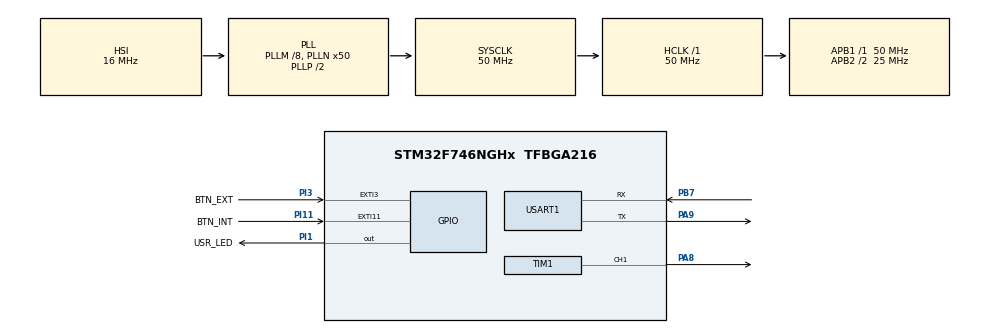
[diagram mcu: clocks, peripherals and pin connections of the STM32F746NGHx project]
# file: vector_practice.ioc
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FREERTOS.Mutexes01=vectorMutex,Dynamic,NULL
FREERTOS.Tasks01=defaultTask,0,128,StartDefaultTask,Default,NULL,Dynamic,NULL,NULL;PrintVector,0,256,StartPrintVector,Default,NULL,Dynamic,NULL,NULL;PWM,0,256,StartPWM,Default,NULL,Dynamic,NULL,NULL;PushVector,0,512,StartPushVector,Default,NULL,Dynamic,NULL,NULL;PopVector,0,256,StartPopVector,Default,NULL,Dynamic,NULL,NULL;DeleteRandom,0,256,StartDeleteRandom,Default,NULL,Dynamic,NULL,NULL
Mcu.Family=STM32F7
Mcu.Name=STM32F746NGHx
Mcu.Package=TFBGA216
NVIC.EXTI15_10_IRQn=true\:5\:0\:true\:false\:true\:false\:true\:true
NVIC.EXTI3_IRQn=true\:5\:0\:true\:false\:true\:false\:true\:true
NVIC.PriorityGroup=NVIC_PRIORITYGROUP_4
NVIC.TIM1_BRK_TIM9_IRQn=true\:5\:0\:true\:false\:true\:true\:true\:true
NVIC.TIM5_IRQn=true\:5\:0\:true\:false\:true\:true\:true\:true
NVIC.TIM8_TRG_COM_TIM14_IRQn=true\:0\:0\:false\:false\:true\:false\:false\:true
NVIC.TimeBase=TIM8_TRG_COM_TIM14_IRQn
NVIC.TimeBaseIP=TIM14
NVIC.USART1_IRQn=true\:5\:0\:false\:false\:true\:true\:true\:true
PA13.Mode=Serial_Wire
PA13.Signal=SYS_JTMS-SWDIO
PA14.Mode=Serial_Wire
PA14.Signal=SYS_JTCK-SWCLK
PA8.Signal=S_TIM1_CH1
PA9.Mode=Asynchronous
PA9.Signal=USART1_TX
PB7.Mode=Asynchronous
PB7.Signal=USART1_RX
PC14/OSC32_IN.Mode=LSE-External-Oscillator
PC14/OSC32_IN.Signal=RCC_OSC32_IN
PC15/OSC32_OUT.Mode=LSE-External-Oscillator
PC15/OSC32_OUT.Signal=RCC_OSC32_OUT
PH0/OSC_IN.Mode=HSE-External-Clock-Source
PH0/OSC_IN.Signal=RCC_OSC_IN
PH1/OSC_OUT.Mode=HSE-External-Clock-Source
PH1/OSC_OUT.Signal=RCC_OSC_OUT
PI1.GPIO_Label=USR_LED
PI1.Signal=GPIO_Output
PI11.GPIO_Label=BTN_INT
PI11.Signal=GPXTI11
PI3.GPIO_Label=BTN_EXT
PI3.GPIO_ModeDefaultEXTI=GPIO_MODE_IT_RISING_FALLING
PI3.GPIO_PuPd=GPIO_PULLUP
PI3.Signal=GPXTI3
ProjectManager.HeapSize=0x200
ProjectManager.StackSize=0x400
ProjectManager.TargetToolchain=STM32CubeIDE
RCC.AHBFreq_Value=50000000
RCC.APB1Freq_Value=50000000
RCC.APB1TimFreq_Value=50000000
RCC.APB2CLKDivider=RCC_HCLK_DIV2
RCC.APB2Freq_Value=25000000
RCC.APB2TimFreq_Value=50000000
RCC.CortexFreq_Value=50000000
RCC.HCLKFreq_Value=50000000
RCC.HSE_VALUE=25000000
RCC.HSI_VALUE=16000000
RCC.PLLM=8
RCC.PLLN=50
RCC.PLLQ=3
RCC.PLLSourceVirtual=RCC_PLLSOURCE_HSI
RCC.SYSCLKFreq_VALUE=50000000
RCC.SYSCLKSource=RCC_SYSCLKSOURCE_PLLCLK
RCC.USBFreq_Value=33333333.333333332
RCC.VCOOutputFreq_Value=100000000
SH.S_TIM1_CH1.0=TIM1_CH1,PWM Generation1 CH1
TIM1.Channel-PWM\ Generation1\ CH1=TIM_CHANNEL_1
TIM1.Period=100
TIM5.Period=10000
TIM5.Prescaler=5000-1
TIM9.Period=20000
TIM9.Prescaler=5000-1
USART1.VirtualMode-Asynchronous=VM_ASYNC
VP_FREERTOS_VS_CMSIS_V1.Mode=CMSIS_V1
VP_RNG_VS_RNG.Mode=RNG_Activate
VP_SYS_VS_tim14.Mode=TIM14
VP_TIM5_VS_ClockSourceINT.Mode=Internal
VP_TIM9_VS_ClockSourceINT.Mode=Internal
board=STM32F746G-DISCO

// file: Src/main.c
/* USER CODE BEGIN Header */
/**
  ******************************************************************************
  * @file           : main.c
  * @brief          : Main program body
  ******************************************************************************
  * @attention
  *
  * <h2><center>&copy; Copyright (c) 2019 STMicroelectronics.
  * All rights reserved.</center></h2>
  *
  * This software component is licensed by ST under BSD 3-Clause license,
  * the "License"; You may not use this file except in compliance with the
  * License. You may obtain a copy of the License at:
  *                        opensource.org/licenses/BSD-3-Clause
  *
  ******************************************************************************
  */
/* USER CODE END Header */

#include "main.h"
#include "cmsis_os.h"

/* USER CODE BEGIN Includes */
#include "vector.h"
#include <stdio.h>
#include <string.h>
/* USER CODE END Includes */

/* USER CODE BEGIN PTD */
typedef enum btn_ext_state{
	PRESSED,
	RELEASED
}btn_ext_state_t;
/* USER CODE END PTD */

RNG_HandleTypeDef hrng;

TIM_HandleTypeDef htim1;
TIM_HandleTypeDef htim5;
TIM_HandleTypeDef htim9;

UART_HandleTypeDef huart1;

osThreadId defaultTaskHandle;
osThreadId PrintVectorHandle;
osThreadId PWMHandle;
osThreadId PushVectorHandle;
osThreadId PopVectorHandle;
osThreadId DeleteRandomHandle;
osMutexId vectorMutexHandle;
/* USER CODE BEGIN PV */
int sys_init_flag = 0;
int sys_init_flag_two = 0;
int signal_print_vector = 1;
int signal_pop_vector = 2;
int signal_push_vector = 3;
int signal_delete_random = 4;
vector_t test_vector;

int prev_start_time_btn_ext = 0;
int prev_start_time_btn_int = 0;
btn_ext_state_t state = RELEASED;

int duty_cycle = 0;
/* USER CODE END PV */

void SystemClock_Config(void);
static void MX_GPIO_Init(void);
static void MX_TIM5_Init(void);
static void MX_USART1_UART_Init(void);
static void MX_TIM1_Init(void);
static void MX_RNG_Init(void);
static void MX_TIM9_Init(void);
void StartDefaultTask(void const * argument);
void StartPrintVector(void const * argument);
void StartPWM(void const * argument);
void StartPushVector(void const * argument);
void StartPopVector(void const * argument);
void StartDeleteRandom(void const * argument);

/* USER CODE BEGIN PFP */
void print_vector(vector_t* vector);
void delete_random(vector_t* vector);
int calculate_avg(vector_t* vector);
/* USER CODE END PFP */

/* USER CODE BEGIN 0 */
void print_vector(vector_t* vector)
{
	if(vector->size == 0){
		char tmp[32];
		sprintf(tmp, "Empty vector!\r\n");
		HAL_UART_Transmit(&huart1, (uint8_t*)tmp, strlen(tmp), 50);
	}else{
		char tmp[128];
		int elements;
		int i;
		for(i = 0; i < vector_size(vector); ++i){
			elements = vector_get(vector, i);
			sprintf(tmp, "Vector element at %d.: %d\r\n", i, elements);
			HAL_UART_Transmit(&huart1, (uint8_t*)tmp, strlen(tmp), 50);
		}
	}
}

void delete_random(vector_t* vector)
{
	if(vector->size == 0){
		return;
	}

	int random_element_index = HAL_RNG_GetRandomNumber(&hrng) % vector->size;
	vector_erase(vector, random_element_index);

}

int calculate_avg(vector_t* vector)
{
	int sum = 0;
	for(int i = 0; i < vector->size; ++i){
		sum += vector->data[i];
	}

	return sum / vector->size;
}
/* USER CODE END 0 */

int main(void)
{

  /* MCU Configuration--------------------------------------------------------*/

  /* Reset of all peripherals, Initializes the Flash interface and the Systick. */
  HAL_Init();

  /* Configure the system clock */
  SystemClock_Config();

  /* USER CODE BEGIN SysInit */
  vector_init(&test_vector);
  /* USER CODE END SysInit */

  /* Initialize all configured peripherals */
  MX_GPIO_Init();
  MX_TIM5_Init();
  MX_USART1_UART_Init();
  MX_TIM1_Init();
  MX_RNG_Init();
  MX_TIM9_Init();
  /* USER CODE BEGIN 2 */
  HAL_TIM_Base_Start_IT(&htim5);
  HAL_TIM_Base_Start_IT(&htim9);
  HAL_TIM_PWM_Start(&htim1, TIM_CHANNEL_1);
  /* USER CODE END 2 */

  /* Create the mutex(es) */
  /* definition and creation of vectorMutex */
  osMutexDef(vectorMutex);
  vectorMutexHandle = osMutexCreate(osMutex(vectorMutex));

  /* Create the thread(s) */
  /* definition and creation of defaultTask */
  osThreadDef(defaultTask, StartDefaultTask, osPriorityNormal, 0, 128);
  defaultTaskHandle = osThreadCreate(osThread(defaultTask), NULL);

  /* definition and creation of PrintVector */
  osThreadDef(PrintVector, StartPrintVector, osPriorityNormal, 0, 256);
  PrintVectorHandle = osThreadCreate(osThread(PrintVector), NULL);

  /* definition and creation of PWM */
  osThreadDef(PWM, StartPWM, osPriorityNormal, 0, 256);
  PWMHandle = osThreadCreate(osThread(PWM), NULL);

  /* definition and creation of PushVector */
  osThreadDef(PushVector, StartPushVector, osPriorityNormal, 0, 512);
  PushVectorHandle = osThreadCreate(osThread(PushVector), NULL);

  /* definition and creation of PopVector */
  osThreadDef(PopVector, StartPopVector, osPriorityNormal, 0, 256);
  PopVectorHandle = osThreadCreate(osThread(PopVector), NULL);

  /* definition and creation of DeleteRandom */
  osThreadDef(DeleteRandom, StartDeleteRandom, osPriorityNormal, 0, 256);
  DeleteRandomHandle = osThreadCreate(osThread(DeleteRandom), NULL);

  /* Start scheduler */
  osKernelStart();

  /* We should never get here as control is now taken by the scheduler */

  /* Infinite loop */
  while (1)
  {

  }
}

void SystemClock_Config(void)
{
  RCC_OscInitTypeDef RCC_OscInitStruct = {0};
  RCC_ClkInitTypeDef RCC_ClkInitStruct = {0};
  RCC_PeriphCLKInitTypeDef PeriphClkInitStruct = {0};

  /** Configure LSE Drive Capability
  */
  HAL_PWR_EnableBkUpAccess();
  /** Configure the main internal regulator output voltage
  */
  __HAL_RCC_PWR_CLK_ENABLE();
  __HAL_PWR_VOLTAGESCALING_CONFIG(PWR_REGULATOR_VOLTAGE_SCALE3);
  /** Initializes the CPU, AHB and APB busses clocks
  */
  RCC_OscInitStruct.OscillatorType = RCC_OSCILLATORTYPE_HSI;
  RCC_OscInitStruct.HSIState = RCC_HSI_ON;
  RCC_OscInitStruct.HSICalibrationValue = RCC_HSICALIBRATION_DEFAULT;
  RCC_OscInitStruct.PLL.PLLState = RCC_PLL_ON;
  RCC_OscInitStruct.PLL.PLLSource = RCC_PLLSOURCE_HSI;
  RCC_OscInitStruct.PLL.PLLM = 8;
  RCC_OscInitStruct.PLL.PLLN = 50;
  RCC_OscInitStruct.PLL.PLLP = RCC_PLLP_DIV2;
  RCC_OscInitStruct.PLL.PLLQ = 3;
  if (HAL_RCC_OscConfig(&RCC_OscInitStruct) != HAL_OK)
  {
    Error_Handler();
  }
  /** Activate the Over-Drive mode
  */
  if (HAL_PWREx_EnableOverDrive() != HAL_OK)
  {
    Error_Handler();
  }
  /** Initializes the CPU, AHB and APB busses clocks
  */
  RCC_ClkInitStruct.ClockType = RCC_CLOCKTYPE_HCLK|RCC_CLOCKTYPE_SYSCLK
                              |RCC_CLOCKTYPE_PCLK1|RCC_CLOCKTYPE_PCLK2;
  RCC_ClkInitStruct.SYSCLKSource = RCC_SYSCLKSOURCE_PLLCLK;
  RCC_ClkInitStruct.AHBCLKDivider = RCC_SYSCLK_DIV1;
  RCC_ClkInitStruct.APB1CLKDivider = RCC_HCLK_DIV1;
  RCC_ClkInitStruct.APB2CLKDivider = RCC_HCLK_DIV2;

  if (HAL_RCC_ClockConfig(&RCC_ClkInitStruct, FLASH_LATENCY_1) != HAL_OK)
  {
    Error_Handler();
  }
  PeriphClkInitStruct.PeriphClockSelection = RCC_PERIPHCLK_USART1|RCC_PERIPHCLK_CLK48;
  PeriphClkInitStruct.Usart1ClockSelection = RCC_USART1CLKSOURCE_PCLK2;
  PeriphClkInitStruct.Clk48ClockSelection = RCC_CLK48SOURCE_PLL;
  if (HAL_RCCEx_PeriphCLKConfig(&PeriphClkInitStruct) != HAL_OK)
  {
    Error_Handler();
  }
}

static void MX_RNG_Init(void)
{

  hrng.Instance = RNG;
  if (HAL_RNG_Init(&hrng) != HAL_OK)
  {
    Error_Handler();
  }

}

static void MX_TIM1_Init(void)
{

  TIM_MasterConfigTypeDef sMasterConfig = {0};
  TIM_OC_InitTypeDef sConfigOC = {0};
  TIM_BreakDeadTimeConfigTypeDef sBreakDeadTimeConfig = {0};

  htim1.Instance = TIM1;
  htim1.Init.Prescaler = 0;
  htim1.Init.CounterMode = TIM_COUNTERMODE_UP;
  htim1.Init.Period = 100;
  htim1.Init.ClockDivision = TIM_CLOCKDIVISION_DIV1;
  htim1.Init.RepetitionCounter = 0;
  htim1.Init.AutoReloadPreload = TIM_AUTORELOAD_PRELOAD_DISABLE;
  if (HAL_TIM_PWM_Init(&htim1) != HAL_OK)
  {
    Error_Handler();
  }
  sMasterConfig.MasterOutputTrigger = TIM_TRGO_RESET;
  sMasterConfig.MasterOutputTrigger2 = TIM_TRGO2_RESET;
  sMasterConfig.MasterSlaveMode = TIM_MASTERSLAVEMODE_DISABLE;
  if (HAL_TIMEx_MasterConfigSynchronization(&htim1, &sMasterConfig) != HAL_OK)
  {
    Error_Handler();
  }
  sConfigOC.OCMode = TIM_OCMODE_PWM1;
  sConfigOC.Pulse = 0;
  sConfigOC.OCPolarity = TIM_OCPOLARITY_HIGH;
  sConfigOC.OCNPolarity = TIM_OCNPOLARITY_HIGH;
  sConfigOC.OCFastMode = TIM_OCFAST_DISABLE;
  sConfigOC.OCIdleState = TIM_OCIDLESTATE_RESET;
  sConfigOC.OCNIdleState = TIM_OCNIDLESTATE_RESET;
  if (HAL_TIM_PWM_ConfigChannel(&htim1, &sConfigOC, TIM_CHANNEL_1) != HAL_OK)
  {
    Error_Handler();
  }
  sBreakDeadTimeConfig.OffStateRunMode = TIM_OSSR_DISABLE;
  sBreakDeadTimeConfig.OffStateIDLEMode = TIM_OSSI_DISABLE;
  sBreakDeadTimeConfig.LockLevel = TIM_LOCKLEVEL_OFF;
  sBreakDeadTimeConfig.DeadTime = 0;
  sBreakDeadTimeConfig.BreakState = TIM_BREAK_DISABLE;
  sBreakDeadTimeConfig.BreakPolarity = TIM_BREAKPOLARITY_HIGH;
  sBreakDeadTimeConfig.BreakFilter = 0;
  sBreakDeadTimeConfig.Break2State = TIM_BREAK2_DISABLE;
  sBreakDeadTimeConfig.Break2Polarity = TIM_BREAK2POLARITY_HIGH;
  sBreakDeadTimeConfig.Break2Filter = 0;
  sBreakDeadTimeConfig.AutomaticOutput = TIM_AUTOMATICOUTPUT_DISABLE;
  if (HAL_TIMEx_ConfigBreakDeadTime(&htim1, &sBreakDeadTimeConfig) != HAL_OK)
  {
    Error_Handler();
  }
  HAL_TIM_MspPostInit(&htim1);

}

static void MX_TIM5_Init(void)
{

  TIM_ClockConfigTypeDef sClockSourceConfig = {0};
  TIM_MasterConfigTypeDef sMasterConfig = {0};

  htim5.Instance = TIM5;
  htim5.Init.Prescaler = 5000-1;
  htim5.Init.CounterMode = TIM_COUNTERMODE_UP;
  htim5.Init.Period = 10000;
  htim5.Init.ClockDivision = TIM_CLOCKDIVISION_DIV1;
  htim5.Init.AutoReloadPreload = TIM_AUTORELOAD_PRELOAD_DISABLE;
  if (HAL_TIM_Base_Init(&htim5) != HAL_OK)
  {
    Error_Handler();
  }
  sClockSourceConfig.ClockSource = TIM_CLOCKSOURCE_INTERNAL;
  if (HAL_TIM_ConfigClockSource(&htim5, &sClockSourceConfig) != HAL_OK)
  {
    Error_Handler();
  }
  sMasterConfig.MasterOutputTrigger = TIM_TRGO_RESET;
  sMasterConfig.MasterSlaveMode = TIM_MASTERSLAVEMODE_DISABLE;
  if (HAL_TIMEx_MasterConfigSynchronization(&htim5, &sMasterConfig) != HAL_OK)
  {
    Error_Handler();
  }

}

static void MX_TIM9_Init(void)
{

  TIM_ClockConfigTypeDef sClockSourceConfig = {0};

  htim9.Instance = TIM9;
  htim9.Init.Prescaler = 5000-1;
  htim9.Init.CounterMode = TIM_COUNTERMODE_UP;
  htim9.Init.Period = 20000;
  htim9.Init.ClockDivision = TIM_CLOCKDIVISION_DIV1;
  htim9.Init.AutoReloadPreload = TIM_AUTORELOAD_PRELOAD_DISABLE;
  if (HAL_TIM_Base_Init(&htim9) != HAL_OK)
  {
    Error_Handler();
  }
  sClockSourceConfig.ClockSource = TIM_CLOCKSOURCE_INTERNAL;
  if (HAL_TIM_ConfigClockSource(&htim9, &sClockSourceConfig) != HAL_OK)
  {
    Error_Handler();
  }

}

static void MX_USART1_UART_Init(void)
{

  huart1.Instance = USART1;
  huart1.Init.BaudRate = 115200;
  huart1.Init.WordLength = UART_WORDLENGTH_8B;
  huart1.Init.StopBits = UART_STOPBITS_1;
  huart1.Init.Parity = UART_PARITY_NONE;
  huart1.Init.Mode = UART_MODE_TX_RX;
  huart1.Init.HwFlowCtl = UART_HWCONTROL_NONE;
  huart1.Init.OverSampling = UART_OVERSAMPLING_16;
  huart1.Init.OneBitSampling = UART_ONE_BIT_SAMPLE_DISABLE;
  huart1.AdvancedInit.AdvFeatureInit = UART_ADVFEATURE_NO_INIT;
  if (HAL_UART_Init(&huart1) != HAL_OK)
  {
    Error_Handler();
  }

}

static void MX_GPIO_Init(void)
{
  GPIO_InitTypeDef GPIO_InitStruct = {0};

  /* GPIO Ports Clock Enable */
  __HAL_RCC_GPIOA_CLK_ENABLE();
  __HAL_RCC_GPIOB_CLK_ENABLE();
  __HAL_RCC_GPIOI_CLK_ENABLE();
  __HAL_RCC_GPIOC_CLK_ENABLE();
  __HAL_RCC_GPIOH_CLK_ENABLE();

  /*Configure GPIO pin Output Level */
  HAL_GPIO_WritePin(USR_LED_GPIO_Port, USR_LED_Pin, GPIO_PIN_RESET);

  /*Configure GPIO pin : BTN_EXT_Pin */
  GPIO_InitStruct.Pin = BTN_EXT_Pin;
  GPIO_InitStruct.Mode = GPIO_MODE_IT_RISING_FALLING;
  GPIO_InitStruct.Pull = GPIO_PULLUP;
  HAL_GPIO_Init(BTN_EXT_GPIO_Port, &GPIO_InitStruct);

  /*Configure GPIO pin : USR_LED_Pin */
  GPIO_InitStruct.Pin = USR_LED_Pin;
  GPIO_InitStruct.Mode = GPIO_MODE_OUTPUT_PP;
  GPIO_InitStruct.Pull = GPIO_NOPULL;
  GPIO_InitStruct.Speed = GPIO_SPEED_FREQ_LOW;
  HAL_GPIO_Init(USR_LED_GPIO_Port, &GPIO_InitStruct);

  /*Configure GPIO pin : BTN_INT_Pin */
  GPIO_InitStruct.Pin = BTN_INT_Pin;
  GPIO_InitStruct.Mode = GPIO_MODE_IT_RISING;
  GPIO_InitStruct.Pull = GPIO_NOPULL;
  HAL_GPIO_Init(BTN_INT_GPIO_Port, &GPIO_InitStruct);

  /* EXTI interrupt init*/
  HAL_NVIC_SetPriority(EXTI3_IRQn, 5, 0);
  HAL_NVIC_EnableIRQ(EXTI3_IRQn);

  HAL_NVIC_SetPriority(EXTI15_10_IRQn, 5, 0);
  HAL_NVIC_EnableIRQ(EXTI15_10_IRQn);

}

/* USER CODE BEGIN 4 */
void HAL_GPIO_EXTI_Callback(uint16_t GPIO_Pin)
{
	if(GPIO_Pin == BTN_EXT_Pin){
		if(HAL_GPIO_ReadPin(BTN_EXT_GPIO_Port, BTN_EXT_Pin)){
			state = PRESSED;
			/*if(state == PRESSED){
				osSignalSet(PushVectorHandle, signal_push_vector);
			}*/
		}else if(!HAL_GPIO_ReadPin(BTN_EXT_GPIO_Port, BTN_EXT_Pin)){
			state = RELEASED;
		}
	}

	if(GPIO_Pin == BTN_INT_Pin){
		osSignalSet(DeleteRandomHandle, signal_delete_random);
	}
}
/* USER CODE END 4 */

void StartDefaultTask(void const * argument)
{

  for(;;)
  {
    osDelay(1);
  }
}

void StartPrintVector(void const * argument)
{
  /* USER CODE BEGIN StartPrintVector */

  /* Infinite loop */
  for(;;)
  {
    osSignalWait(signal_print_vector, osWaitForever);
    osMutexWait(vectorMutexHandle, osWaitForever);
    print_vector(&test_vector);
    osMutexRelease(vectorMutexHandle);

    osDelay(1);
  }
  /* USER CODE END StartPrintVector */
}

void StartPWM(void const * argument)
{
  /* USER CODE BEGIN StartPWM */
  /* Infinite loop */
  for(;;)
  {
	  osMutexWait(vectorMutexHandle, osWaitForever);
	  int duty_cycle = calculate_avg(&test_vector);
	  osMutexRelease(vectorMutexHandle);

	  for(int i = 0; i < duty_cycle; i++){
		  __HAL_TIM_SET_COMPARE(&htim1, TIM_CHANNEL_1, i);
		  osDelay(25);
	  }

	  for(int i = duty_cycle; i > 0; i--){
		  __HAL_TIM_SET_COMPARE(&htim1, TIM_CHANNEL_1, i);
		  osDelay(25);
	  }

    osDelay(1);
  }
  /* USER CODE END StartPWM */
}

void StartPushVector(void const * argument)
{
  /* USER CODE BEGIN StartPushVector */
  /* Infinite loop */
  for(;;)
  {
	  //osSignalWait(signal_push_vector, osWaitForever);
	  //int random_vector_data = HAL_RNG_GetRandomNumber(&hrng) % 100 + 1;
	  if(state == PRESSED){
		  int random_vector_data = HAL_RNG_GetRandomNumber(&hrng) % 100 + 1;
		  osMutexWait(vectorMutexHandle, osWaitForever);
		  vector_push_back(&test_vector, random_vector_data);
		  osMutexRelease(vectorMutexHandle);
	  }
	 /* osMutexWait(vectorMutexHandle, osWaitForever);
	  vector_push_back(&test_vector, 54);
	  osMutexRelease(vectorMutexHandle);
*/
    osDelay(1000);
  }
  /* USER CODE END StartPushVector */
}

void StartPopVector(void const * argument)
{
  /* USER CODE BEGIN StartPopVector */
  /* Infinite loop */
  for(;;)
  {
	  osSignalWait(signal_pop_vector, osWaitForever);
	  osMutexWait(vectorMutexHandle, osWaitForever);
	  vector_pop_back(&test_vector);
	  osMutexRelease(vectorMutexHandle);
    osDelay(1);
  }
  /* USER CODE END StartPopVector */
}

void StartDeleteRandom(void const * argument)
{
  /* USER CODE BEGIN StartDeleteRandom */
  /* Infinite loop */
  for(;;)
  {
	  osSignalWait(signal_delete_random, osWaitForever);
	  osMutexWait(vectorMutexHandle, osWaitForever);
	  delete_random(&test_vector);
	  osMutexRelease(vectorMutexHandle);

    osDelay(1);
  }
  /* USER CODE END StartDeleteRandom */
}

void HAL_TIM_PeriodElapsedCallback(TIM_HandleTypeDef *htim)
{
  /* USER CODE BEGIN Callback 0 */
  if(htim->Instance == TIM5){
	  if(!sys_init_flag){
		  sys_init_flag = 1;
		  return;
	  }

		  osSignalSet(PrintVectorHandle, signal_print_vector);
  }
  /* USER CODE END Callback 0 */
  if (htim->Instance == TIM14) {
    HAL_IncTick();
  }
  /* USER CODE BEGIN Callback 1 */
  if(htim->Instance == TIM9){
	  if(!sys_init_flag_two){
		  sys_init_flag_two = 1;
		  return;
	  }

	  osSignalSet(PopVectorHandle, signal_pop_vector);
  }
  /* USER CODE END Callback 1 */
}

void Error_Handler(void)
{
}

/************************ (C) COPYRIGHT STMicroelectronics *****END OF FILE****/
